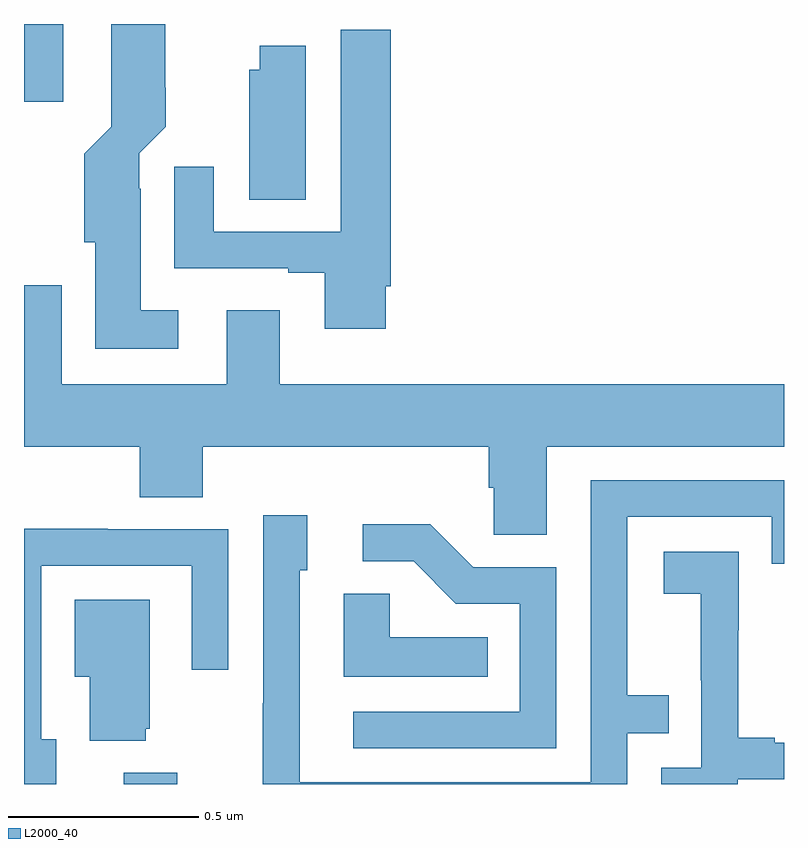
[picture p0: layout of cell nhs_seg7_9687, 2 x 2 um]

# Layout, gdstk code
import gdstk
lib = gdstk.Library(unit=1e-6, precision=1e-09)
def R(c, l, rs):  # rectangles x0, y0, x1, y1
    for r in rs: c.add(gdstk.rectangle(r[:2], r[2:], *l))
def P(c, l, *ps):  # polygons
    for p in ps: c.add(gdstk.Polygon(p, *l))
L2000_40 = (2000, 40)

nhs_seg7_9687 = lib.new_cell('nhs_seg7_9687')
R(nhs_seg7_9687, L2000_40, [(240.263,1061,240.403,1061.029), (240,1062.795,240.103,1063)])
P(nhs_seg7_9687, L2000_40, [(240.406,1062.247),(240.307,1062.247),(240.307,1062.566),(240.303,1062.566),(240.303,1062.66),(240.373,1062.73),(240.373,1062.832),(240.372,1062.832),(240.372,1063),(240.23,1063),(240.23,1062.73),(240.158,1062.658),(240.158,1062.426),(240.188,1062.426),(240.188,1062.146),(240.406,1062.146)],
  [(240.952,1062.31),(240.965,1062.31),(240.965,1062.985),(240.833,1062.985),(240.833,1062.453),(240.499,1062.453),(240.499,1062.625),(240.395,1062.625),(240.395,1062.357),(240.695,1062.357),(240.695,1062.345),(240.791,1062.345),(240.791,1062.198),(240.952,1062.198)],
  [(240.742,1062.943),(240.62,1062.943),(240.62,1062.879),(240.593,1062.879),(240.593,1062.538),(240.742,1062.538)],
  [(241.375,1061.888),(242,1061.888),(242,1062.052),(240.673,1062.052),(240.673,1062.247),(240.533,1062.247),(240.533,1062.052),(240.099,1062.052),(240.099,1062.313),(240,1062.313),(240,1061.888),(240.305,1061.888),(240.305,1061.755),(240.47,1061.755),(240.47,1061.888),(241.223,1061.888),(241.223,1061.779),(241.236,1061.779),(241.236,1061.656),(241.375,1061.656)],
  [(241.587,1061.133),(241.697,1061.133),(241.697,1061.234),(241.587,1061.234),(241.587,1061.703),(241.968,1061.703),(241.968,1061.58),(242,1061.58),(242,1061.799),(241.491,1061.799),(241.491,1061.004),(240.726,1061.004),(240.726,1061.562),(240.745,1061.562),(240.745,1061.707),(240.63,1061.707),(240.63,1061.213),(240.628,1061.213),(240.628,1061),(241.587,1061)],
  [(241.401,1061.571),(241.182,1061.571),(241.069,1061.684),(240.891,1061.684),(240.891,1061.586),(241.025,1061.586),(241.136,1061.475),(241.305,1061.475),(241.305,1061.19),(240.867,1061.19),(240.867,1061.094),(241.401,1061.094)],
  [(240.085,1061.118),(240.045,1061.118),(240.045,1061.574),(240.441,1061.574),(240.441,1061.301),(240.537,1061.301),(240.537,1061.67),(240.221,1061.67),(240.221,1061.672),(240,1061.672),(240,1061),(240.085,1061)],
  [(241.878,1061.013),(242,1061.013),(242,1061.109),(241.975,1061.109),(241.975,1061.122),(241.88,1061.122),(241.88,1061.405),(241.881,1061.405),(241.881,1061.611),(241.683,1061.611),(241.683,1061.501),(241.781,1061.501),(241.781,1061.273),(241.782,1061.273),(241.782,1061.043),(241.677,1061.043),(241.677,1061),(241.878,1061)],
  [(241.22,1061.386),(240.963,1061.386),(240.963,1061.501),(240.842,1061.501),(240.842,1061.282),(241.22,1061.282)],
  [(240.32,1061.145),(240.331,1061.145),(240.331,1061.485),(240.134,1061.485),(240.134,1061.282),(240.173,1061.282),(240.173,1061.114),(240.32,1061.114)])

lib.write_gds('nhs_seg7_9687.gds')
